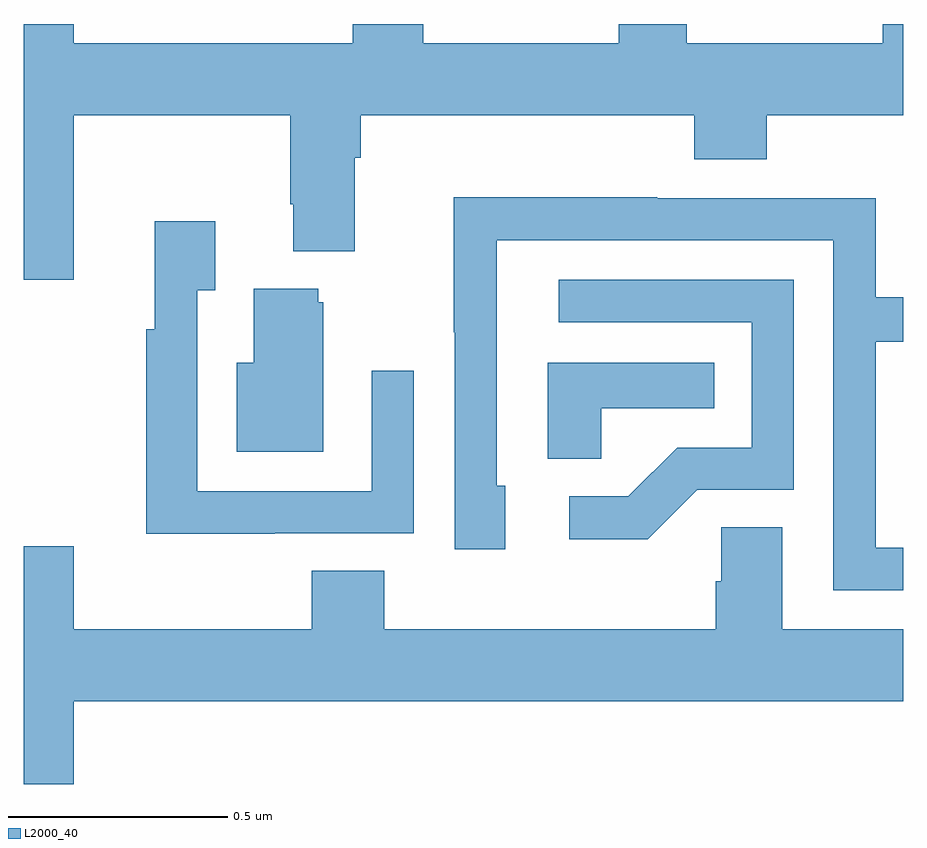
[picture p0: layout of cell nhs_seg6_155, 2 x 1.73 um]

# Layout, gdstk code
import gdstk
lib = gdstk.Library(unit=1e-6, precision=1e-09)
def P(c, l, *ps):  # polygons
    for p in ps: c.add(gdstk.Polygon(p, *l))
L2000_40 = (2000, 40)

nhs_seg6_155 = lib.new_cell('nhs_seg6_155')
P(nhs_seg6_155, L2000_40, [(112.114,991.292),(112.606,991.292),(112.606,991.09),(112.613,991.09),(112.613,990.983),(112.753,990.983),(112.753,991.196),(112.766,991.196),(112.766,991.292),(113.525,991.292),(113.525,991.193),(113.69,991.193),(113.69,991.292),(114,991.292),(114,991.5),(113.953,991.5),(113.953,991.456),(113.508,991.456),(113.508,991.5),(113.353,991.5),(113.353,991.456),(112.908,991.456),(112.908,991.5),(112.748,991.5),(112.748,991.456),(112.114,991.456),(112.114,991.5),(112,991.5),(112,990.918),(112.114,990.918)],
  [(114,990.309),(113.937,990.309),(113.937,990.778),(114,990.778),(114,990.879),(113.937,990.879),(113.937,991.104),(113.441,991.104),(113.441,991.106),(112.978,991.106),(112.978,990.799),(112.98,990.799),(112.98,990.306),(113.095,990.306),(113.095,990.45),(113.076,990.45),(113.076,991.008),(113.841,991.008),(113.841,990.213),(114,990.213)],
  [(112.571,990.342),(112.887,990.342),(112.887,990.712),(112.791,990.712),(112.791,990.438),(112.395,990.438),(112.395,990.895),(112.435,990.895),(112.435,991.051),(112.298,991.051),(112.298,990.806),(112.279,990.806),(112.279,990.341),(112.571,990.341)],
  [(113.532,990.441),(113.751,990.441),(113.751,990.918),(113.217,990.918),(113.217,990.822),(113.655,990.822),(113.655,990.537),(113.486,990.537),(113.375,990.426),(113.241,990.426),(113.241,990.329),(113.419,990.329)],
  [(112.681,990.867),(112.67,990.867),(112.67,990.898),(112.523,990.898),(112.523,990.73),(112.484,990.73),(112.484,990.527),(112.681,990.527)],
  [(113.313,990.626),(113.57,990.626),(113.57,990.73),(113.192,990.73),(113.192,990.511),(113.313,990.511)],
  [(112.114,989.96),(114,989.96),(114,990.124),(113.725,990.124),(113.725,990.356),(113.586,990.356),(113.586,990.233),(113.573,990.233),(113.573,990.124),(112.82,990.124),(112.82,990.257),(112.655,990.257),(112.655,990.124),(112.114,990.124),(112.114,990.313),(112,990.313),(112,989.772),(112.114,989.772)])

lib.write_gds('nhs_seg6_155.gds')
